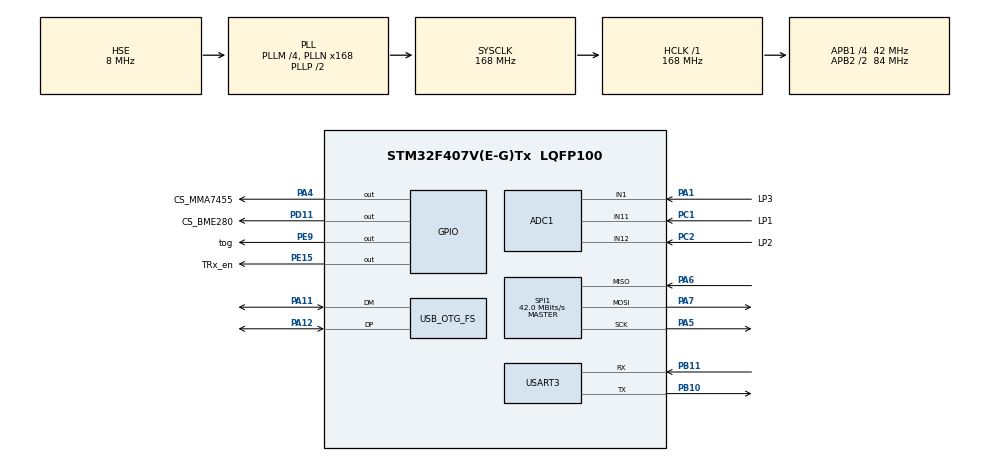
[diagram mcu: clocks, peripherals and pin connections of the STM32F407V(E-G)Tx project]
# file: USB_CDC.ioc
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ADC1.Channel-0\#ChannelRegularConversion=ADC_CHANNEL_1
ADC1.Channel-1\#ChannelRegularConversion=ADC_CHANNEL_11
ADC1.Channel-2\#ChannelRegularConversion=ADC_CHANNEL_12
ADC1.Channel-3\#ChannelRegularConversion=ADC_CHANNEL_TEMPSENSOR
ADC1.Channel-4\#ChannelRegularConversion=ADC_CHANNEL_VREFINT
ADC1.ContinuousConvMode=ENABLE
ADC1.DMAContinuousRequests=ENABLE
ADC1.ExternalTrigConv=ADC_EXTERNALTRIGCONV_T3_TRGO
ADC1.NbrOfConversion=5
ADC1.NbrOfConversionFlag=1
ADC1.Rank-0\#ChannelRegularConversion=1
ADC1.Rank-1\#ChannelRegularConversion=2
ADC1.Rank-2\#ChannelRegularConversion=3
ADC1.Rank-3\#ChannelRegularConversion=4
ADC1.Rank-4\#ChannelRegularConversion=5
ADC1.SamplingTime-0\#ChannelRegularConversion=ADC_SAMPLETIME_3CYCLES
ADC1.SamplingTime-1\#ChannelRegularConversion=ADC_SAMPLETIME_3CYCLES
ADC1.SamplingTime-2\#ChannelRegularConversion=ADC_SAMPLETIME_3CYCLES
ADC1.SamplingTime-3\#ChannelRegularConversion=ADC_SAMPLETIME_3CYCLES
ADC1.SamplingTime-4\#ChannelRegularConversion=ADC_SAMPLETIME_3CYCLES
ADC1.master=1
Dma.ADC1.0.Direction=DMA_PERIPH_TO_MEMORY
Dma.ADC1.0.FIFOMode=DMA_FIFOMODE_DISABLE
Dma.ADC1.0.Instance=DMA2_Stream0
Dma.ADC1.0.MemDataAlignment=DMA_MDATAALIGN_HALFWORD
Dma.ADC1.0.MemInc=DMA_MINC_ENABLE
Dma.ADC1.0.Mode=DMA_CIRCULAR
Dma.ADC1.0.PeriphDataAlignment=DMA_PDATAALIGN_HALFWORD
Dma.ADC1.0.PeriphInc=DMA_PINC_DISABLE
Dma.ADC1.0.Priority=DMA_PRIORITY_LOW
Dma.Request0=ADC1
Dma.Request1=SPI1_RX
Dma.Request2=SPI1_TX
Dma.Request3=USART3_RX
Dma.Request4=USART3_TX
Dma.SPI1_RX.1.Direction=DMA_PERIPH_TO_MEMORY
Dma.SPI1_RX.1.FIFOMode=DMA_FIFOMODE_DISABLE
Dma.SPI1_RX.1.Instance=DMA2_Stream2
Dma.SPI1_RX.1.MemDataAlignment=DMA_MDATAALIGN_BYTE
Dma.SPI1_RX.1.MemInc=DMA_MINC_ENABLE
Dma.SPI1_RX.1.Mode=DMA_NORMAL
Dma.SPI1_RX.1.PeriphDataAlignment=DMA_PDATAALIGN_BYTE
Dma.SPI1_RX.1.PeriphInc=DMA_PINC_DISABLE
Dma.SPI1_RX.1.Priority=DMA_PRIORITY_LOW
Dma.SPI1_TX.2.Direction=DMA_MEMORY_TO_PERIPH
Dma.SPI1_TX.2.FIFOMode=DMA_FIFOMODE_DISABLE
Dma.SPI1_TX.2.Instance=DMA2_Stream3
Dma.SPI1_TX.2.MemDataAlignment=DMA_MDATAALIGN_BYTE
Dma.SPI1_TX.2.MemInc=DMA_MINC_ENABLE
Dma.SPI1_TX.2.Mode=DMA_NORMAL
Dma.SPI1_TX.2.PeriphDataAlignment=DMA_PDATAALIGN_BYTE
Dma.SPI1_TX.2.PeriphInc=DMA_PINC_DISABLE
Dma.SPI1_TX.2.Priority=DMA_PRIORITY_LOW
Dma.USART3_RX.3.Direction=DMA_PERIPH_TO_MEMORY
Dma.USART3_RX.3.FIFOMode=DMA_FIFOMODE_DISABLE
Dma.USART3_RX.3.Instance=DMA1_Stream1
Dma.USART3_RX.3.MemDataAlignment=DMA_MDATAALIGN_HALFWORD
Dma.USART3_RX.3.MemInc=DMA_MINC_ENABLE
Dma.USART3_RX.3.Mode=DMA_NORMAL
Dma.USART3_RX.3.PeriphDataAlignment=DMA_PDATAALIGN_HALFWORD
Dma.USART3_RX.3.PeriphInc=DMA_PINC_DISABLE
Dma.USART3_RX.3.Priority=DMA_PRIORITY_LOW
Dma.USART3_TX.4.Direction=DMA_MEMORY_TO_PERIPH
Dma.USART3_TX.4.FIFOMode=DMA_FIFOMODE_DISABLE
Dma.USART3_TX.4.Instance=DMA1_Stream4
Dma.USART3_TX.4.MemDataAlignment=DMA_MDATAALIGN_HALFWORD
Dma.USART3_TX.4.MemInc=DMA_MINC_ENABLE
Dma.USART3_TX.4.Mode=DMA_NORMAL
Dma.USART3_TX.4.PeriphDataAlignment=DMA_PDATAALIGN_HALFWORD
Dma.USART3_TX.4.PeriphInc=DMA_PINC_DISABLE
Dma.USART3_TX.4.Priority=DMA_PRIORITY_LOW
FREERTOS.Tasks01=analogT,24,128,analogTask,Default,NULL,Dynamic,NULL,NULL;modbusT,8,128,modbusTask,Default,NULL,Dynamic,NULL,NULL;spiT,8,128,spiTask,Default,NULL,Dynamic,NULL,NULL;cdcT,8,128,cdcTask,Default,NULL,Dynamic,NULL,NULL
Mcu.Family=STM32F4
Mcu.Name=STM32F407V(E-G)Tx
Mcu.Package=LQFP100
NVIC.ADC_IRQn=true\:5\:0\:false\:false\:true\:true\:true\:true\:true
NVIC.DMA1_Stream1_IRQn=true\:5\:0\:false\:false\:true\:true\:false\:true\:true
NVIC.DMA1_Stream4_IRQn=true\:5\:0\:false\:false\:true\:true\:false\:true\:true
NVIC.DMA2_Stream0_IRQn=true\:5\:0\:false\:false\:true\:false\:false\:true\:true
NVIC.DMA2_Stream2_IRQn=true\:5\:0\:false\:false\:true\:false\:false\:true\:true
NVIC.DMA2_Stream3_IRQn=true\:5\:0\:false\:false\:true\:true\:false\:true\:true
NVIC.OTG_FS_IRQn=true\:5\:0\:false\:false\:true\:true\:false\:true\:true
NVIC.PriorityGroup=NVIC_PRIORITYGROUP_4
NVIC.TIM6_DAC_IRQn=true\:15\:0\:false\:false\:true\:false\:false\:true\:true
NVIC.TimeBase=TIM6_DAC_IRQn
NVIC.TimeBaseIP=TIM6
NVIC.USART3_IRQn=true\:5\:0\:false\:false\:true\:true\:true\:true\:true
PA1.GPIO_Label=LP3
PA1.Signal=ADCx_IN1
PA11.Mode=Device_Only
PA11.Signal=USB_OTG_FS_DM
PA12.Mode=Device_Only
PA12.Signal=USB_OTG_FS_DP
PA13.Mode=Serial_Wire
PA13.Signal=SYS_JTMS-SWDIO
PA14.Mode=Serial_Wire
PA14.Signal=SYS_JTCK-SWCLK
PA4.GPIO_Label=CS_MMA7455
PA4.Signal=GPIO_Output
PA5.Mode=Full_Duplex_Master
PA5.Signal=SPI1_SCK
PA6.Mode=Full_Duplex_Master
PA6.Signal=SPI1_MISO
PA7.Mode=Full_Duplex_Master
PA7.Signal=SPI1_MOSI
PB10.Mode=Asynchronous
PB10.Signal=USART3_TX
PB11.Mode=Asynchronous
PB11.Signal=USART3_RX
PC1.GPIO_Label=LP1
PC1.Signal=ADCx_IN11
PC2.GPIO_Label=LP2
PC2.Signal=ADCx_IN12
PD11.GPIO_Label=CS_BME280
PD11.Signal=GPIO_Output
PE15.GPIO_Label=TRx_en
PE15.Signal=GPIO_Output
PE9.GPIO_Label=tog
PE9.Signal=GPIO_Output
PH0-OSC_IN.Mode=HSE-External-Oscillator
PH0-OSC_IN.Signal=RCC_OSC_IN
PH1-OSC_OUT.Mode=HSE-External-Oscillator
PH1-OSC_OUT.Signal=RCC_OSC_OUT
ProjectManager.HeapSize=0x200
ProjectManager.StackSize=0x400
ProjectManager.TargetToolchain=STM32CubeIDE
RCC.48MHZClocksFreq_Value=48000000
RCC.AHBFreq_Value=168000000
RCC.APB1CLKDivider=RCC_HCLK_DIV4
RCC.APB1Freq_Value=42000000
RCC.APB1TimFreq_Value=84000000
RCC.APB2CLKDivider=RCC_HCLK_DIV2
RCC.APB2Freq_Value=84000000
RCC.APB2TimFreq_Value=168000000
RCC.CortexFreq_Value=168000000
RCC.HCLKFreq_Value=168000000
RCC.HSE_VALUE=8000000
RCC.HSI_VALUE=16000000
RCC.LSE_VALUE=32768
RCC.PLLM=4
RCC.PLLN=168
RCC.PLLQ=7
RCC.SYSCLKFreq_VALUE=168000000
RCC.SYSCLKSource=RCC_SYSCLKSOURCE_PLLCLK
RCC.VCOOutputFreq_Value=336000000
SH.ADCx_IN1.0=ADC1_IN1,IN1
SH.ADCx_IN11.0=ADC1_IN11,IN11
SH.ADCx_IN12.0=ADC1_IN12,IN12
SPI1.BaudRatePrescaler=SPI_BAUDRATEPRESCALER_2
SPI1.CLKPhase=SPI_PHASE_1EDGE
SPI1.CalculateBaudRate=42.0 MBits/s
SPI1.Direction=SPI_DIRECTION_2LINES
SPI1.Mode=SPI_MODE_MASTER
SPI1.VirtualType=VM_MASTER
TIM3.Period=200-1
TIM3.Prescaler=84-1
TIM3.TIM_MasterOutputTrigger=TIM_TRGO_UPDATE
USART3.VirtualMode=VM_ASYNC
USB_DEVICE.CLASS_NAME_FS=CDC
USB_DEVICE.USBD_MAX_STR_DESC_SIZ-CDC_FS=512
USB_DEVICE.VirtualMode-CDC_FS=Cdc
USB_DEVICE.VirtualModeFS=Cdc_FS
USB_OTG_FS.VirtualMode=Device_Only
VP_ADC1_TempSens_Input.Mode=IN-TempSens
VP_ADC1_Vref_Input.Mode=IN-Vrefint
VP_FREERTOS_VS_CMSIS_V2.Mode=CMSIS_V2
VP_SYS_VS_tim6.Mode=TIM6
VP_TIM3_VS_ClockSourceINT.Mode=Internal
VP_USB_DEVICE_VS_USB_DEVICE_CDC_FS.Mode=CDC_FS
board=custom

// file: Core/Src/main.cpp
/* USER CODE BEGIN Header */
/**
  ******************************************************************************
  * @file           : main.c
  * @brief          : Main program body
  ******************************************************************************
  * @attention
  *
  * Copyright (c) 2023 STMicroelectronics.
  * All rights reserved.
  *
  * This software is licensed under terms that can be found in the LICENSE file
  * in the root directory of this software component.
  * If no LICENSE file comes with this software, it is provided AS-IS.
  *
  ******************************************************************************
  */
/* USER CODE END Header */
#include "main.h"
#include "cmsis_os.h"
#include "usb_device.h"

/* USER CODE BEGIN Includes */
#include "usbd_cdc_if.h"
//#include <stdio.h>
#include "MMA_7455.h"
#include "SparkFunBME280.h"
#include "Modbus.h"
#include "semphr.h"
#include "task.h"
#include "FreeRTOS.h"
#include "printf.h"
#include <string.h>
/* USER CODE END Includes */

ADC_HandleTypeDef hadc1;
DMA_HandleTypeDef hdma_adc1;

SPI_HandleTypeDef hspi1;
DMA_HandleTypeDef hdma_spi1_rx;
DMA_HandleTypeDef hdma_spi1_tx;

TIM_HandleTypeDef htim3;

UART_HandleTypeDef huart3;
DMA_HandleTypeDef hdma_usart3_rx;
DMA_HandleTypeDef hdma_usart3_tx;

/* Definitions for analogT */
osThreadId_t analogTHandle;
const osThreadAttr_t analogT_attributes = {
  .name = "analogT",
  .stack_size = 128 * 4,
  .priority = (osPriority_t) osPriorityAboveNormal,
};
/* Definitions for modbusT */
osThreadId_t modbusTHandle;
const osThreadAttr_t modbusT_attributes = {
  .name = "modbusT",
  .stack_size = 128 * 4,
  .priority = (osPriority_t) osPriorityLow,
};
/* Definitions for spiT */
osThreadId_t spiTHandle;
const osThreadAttr_t spiT_attributes = {
  .name = "spiT",
  .stack_size = 128 * 4,
  .priority = (osPriority_t) osPriorityLow,
};
/* Definitions for cdcT */
osThreadId_t cdcTHandle;
const osThreadAttr_t cdcT_attributes = {
  .name = "cdcT",
  .stack_size = 128 * 4,
  .priority = (osPriority_t) osPriorityLow,
};
/* USER CODE BEGIN PV */

#define ADC_BUFF_NUM 16

typedef struct adcvalues{
	uint16_t raw[ADC_BUFF_NUM];
	float intTemp;
}adcval_t;
uint16_t adcBuffer[5];

union Num{
	float fnum;
	uint16_t unum;
}num;

adcval_t adcint;
uint16_t modbusData[128];

MMA_7455 vib(spi_protocol, 9);
BME280 	 temp;
modbusHandler_t mb;
uint8_t curADC=0;

modbus_t telegram[2];
int convcomplete=0;

char CDCreceivedBuffer[250];
int receiveData=0;
int lenReceiveData=0;
int adcInteruptCount=0;

#define ADCBUFFERSIZE 250
#define SPRINTFBUFFERSIZE 2048
uint16_t 	ia[ADCBUFFERSIZE],
			ib[ADCBUFFERSIZE],
			ic[ADCBUFFERSIZE],
			vref[ADCBUFFERSIZE],
			vtemp[ADCBUFFERSIZE];

char sprintfBuffer[SPRINTFBUFFERSIZE];

extern USBD_HandleTypeDef hUsbDeviceFS;
//USBD_CDC_HandleTypeDef *hcdc = (USBD_CDC_HandleTypeDef*)hUsbDeviceFS.pClassData;

extern uint8_t UserRxBufferFS[APP_RX_DATA_SIZE];
extern uint8_t UserTxBufferFS[APP_TX_DATA_SIZE];

/* USER CODE END PV */

void SystemClock_Config(void);
static void MX_GPIO_Init(void);
static void MX_DMA_Init(void);
static void MX_TIM3_Init(void);
static void MX_ADC1_Init(void);
static void MX_SPI1_Init(void);
static void MX_USART3_UART_Init(void);
void analogTask(void *argument);
void modbusTask(void *argument);
void spiTask(void *argument);
void cdcTask(void *argument);

int main(void)
{

  /* MCU Configuration--------------------------------------------------------*/

  /* Reset of all peripherals, Initializes the Flash interface and the Systick. */
  HAL_Init();

  /* Configure the system clock */
  SystemClock_Config();

  /* Initialize all configured peripherals */
  MX_GPIO_Init();
  MX_DMA_Init();
  MX_TIM3_Init();
  MX_ADC1_Init();
  MX_SPI1_Init();
  MX_USART3_UART_Init();
  MX_USB_DEVICE_Init();
  /* USER CODE BEGIN 2 */

  mb.uModbusType = MB_SLAVE;
  mb.port 		 = &huart3;
  mb.u8id 		 = 2;
  mb.u16timeOut  = 3;
  mb.EN_Port	 = TRx_en_GPIO_Port;
  mb.EN_Pin		 = TRx_en_Pin;
  mb.u16regs	 = modbusData;
  mb.u16regsize	 = sizeof(modbusData)/sizeof(modbusData[0]);
  mb.xTypeHW	 = USART_HW_DMA;

  // init modbus and start
  ModbusInit(&mb);
  ModbusStart(&mb);

  HAL_ADC_Start_DMA(&hadc1, (uint32_t*)adcBuffer, 5);
  HAL_TIM_Base_Start(&htim3);

  /* USER CODE END 2 */

  /* Init scheduler */
  osKernelInitialize();

  /* Create the thread(s) */
  /* creation of analogT */
  analogTHandle = osThreadNew(analogTask, NULL, &analogT_attributes);

  /* creation of modbusT */
//  modbusTHandle = osThreadNew(modbusTask, NULL, &modbusT_attributes);

  /* creation of spiT */
//  spiTHandle = osThreadNew(spiTask, NULL, &spiT_attributes);

  /* creation of cdcT */
//  cdcTHandle = osThreadNew(cdcTask, NULL, &cdcT_attributes);

  /* Start scheduler */
  osKernelStart();

  /* We should never get here as control is now taken by the scheduler */
  /* Infinite loop */
  while (1)
  {

  }
}

void SystemClock_Config(void)
{
  RCC_OscInitTypeDef RCC_OscInitStruct = {0};
  RCC_ClkInitTypeDef RCC_ClkInitStruct = {0};

  /** Configure the main internal regulator output voltage
  */
  __HAL_RCC_PWR_CLK_ENABLE();
  __HAL_PWR_VOLTAGESCALING_CONFIG(PWR_REGULATOR_VOLTAGE_SCALE1);

  /** Initializes the RCC Oscillators according to the specified parameters
  * in the RCC_OscInitTypeDef structure.
  */
  RCC_OscInitStruct.OscillatorType = RCC_OSCILLATORTYPE_HSE;
  RCC_OscInitStruct.HSEState = RCC_HSE_ON;
  RCC_OscInitStruct.PLL.PLLState = RCC_PLL_ON;
  RCC_OscInitStruct.PLL.PLLSource = RCC_PLLSOURCE_HSE;
  RCC_OscInitStruct.PLL.PLLM = 4;
  RCC_OscInitStruct.PLL.PLLN = 168;
  RCC_OscInitStruct.PLL.PLLP = RCC_PLLP_DIV2;
  RCC_OscInitStruct.PLL.PLLQ = 7;
  if (HAL_RCC_OscConfig(&RCC_OscInitStruct) != HAL_OK)
  {
    Error_Handler();
  }

  /** Initializes the CPU, AHB and APB buses clocks
  */
  RCC_ClkInitStruct.ClockType = RCC_CLOCKTYPE_HCLK|RCC_CLOCKTYPE_SYSCLK
                              |RCC_CLOCKTYPE_PCLK1|RCC_CLOCKTYPE_PCLK2;
  RCC_ClkInitStruct.SYSCLKSource = RCC_SYSCLKSOURCE_PLLCLK;
  RCC_ClkInitStruct.AHBCLKDivider = RCC_SYSCLK_DIV1;
  RCC_ClkInitStruct.APB1CLKDivider = RCC_HCLK_DIV4;
  RCC_ClkInitStruct.APB2CLKDivider = RCC_HCLK_DIV2;

  if (HAL_RCC_ClockConfig(&RCC_ClkInitStruct, FLASH_LATENCY_5) != HAL_OK)
  {
    Error_Handler();
  }
}

static void MX_ADC1_Init(void)
{

  ADC_ChannelConfTypeDef sConfig = {0};

  /** Configure the global features of the ADC (Clock, Resolution, Data Alignment and number of conversion)
  */
  hadc1.Instance = ADC1;
  hadc1.Init.ClockPrescaler = ADC_CLOCK_SYNC_PCLK_DIV4;
  hadc1.Init.Resolution = ADC_RESOLUTION_12B;
  hadc1.Init.ScanConvMode = ENABLE;
  hadc1.Init.ContinuousConvMode = ENABLE;
  hadc1.Init.DiscontinuousConvMode = DISABLE;
  hadc1.Init.ExternalTrigConvEdge = ADC_EXTERNALTRIGCONVEDGE_RISING;
  hadc1.Init.ExternalTrigConv = ADC_EXTERNALTRIGCONV_T3_TRGO;
  hadc1.Init.DataAlign = ADC_DATAALIGN_RIGHT;
  hadc1.Init.NbrOfConversion = 5;
  hadc1.Init.DMAContinuousRequests = ENABLE;
  hadc1.Init.EOCSelection = ADC_EOC_SINGLE_CONV;
  if (HAL_ADC_Init(&hadc1) != HAL_OK)
  {
    Error_Handler();
  }

  /** Configure for the selected ADC regular channel its corresponding rank in the sequencer and its sample time.
  */
  sConfig.Channel = ADC_CHANNEL_1;
  sConfig.Rank = 1;
  sConfig.SamplingTime = ADC_SAMPLETIME_3CYCLES;
  if (HAL_ADC_ConfigChannel(&hadc1, &sConfig) != HAL_OK)
  {
    Error_Handler();
  }

  /** Configure for the selected ADC regular channel its corresponding rank in the sequencer and its sample time.
  */
  sConfig.Channel = ADC_CHANNEL_11;
  sConfig.Rank = 2;
  if (HAL_ADC_ConfigChannel(&hadc1, &sConfig) != HAL_OK)
  {
    Error_Handler();
  }

  /** Configure for the selected ADC regular channel its corresponding rank in the sequencer and its sample time.
  */
  sConfig.Channel = ADC_CHANNEL_12;
  sConfig.Rank = 3;
  if (HAL_ADC_ConfigChannel(&hadc1, &sConfig) != HAL_OK)
  {
    Error_Handler();
  }

  /** Configure for the selected ADC regular channel its corresponding rank in the sequencer and its sample time.
  */
  sConfig.Channel = ADC_CHANNEL_TEMPSENSOR;
  sConfig.Rank = 4;
  if (HAL_ADC_ConfigChannel(&hadc1, &sConfig) != HAL_OK)
  {
    Error_Handler();
  }

  /** Configure for the selected ADC regular channel its corresponding rank in the sequencer and its sample time.
  */
  sConfig.Channel = ADC_CHANNEL_VREFINT;
  sConfig.Rank = 5;
  if (HAL_ADC_ConfigChannel(&hadc1, &sConfig) != HAL_OK)
  {
    Error_Handler();
  }

}

static void MX_SPI1_Init(void)
{

  /* SPI1 parameter configuration*/
  hspi1.Instance = SPI1;
  hspi1.Init.Mode = SPI_MODE_MASTER;
  hspi1.Init.Direction = SPI_DIRECTION_2LINES;
  hspi1.Init.DataSize = SPI_DATASIZE_8BIT;
  hspi1.Init.CLKPolarity = SPI_POLARITY_LOW;
  hspi1.Init.CLKPhase = SPI_PHASE_1EDGE;
  hspi1.Init.NSS = SPI_NSS_SOFT;
  hspi1.Init.BaudRatePrescaler = SPI_BAUDRATEPRESCALER_8;
  hspi1.Init.FirstBit = SPI_FIRSTBIT_MSB;
  hspi1.Init.TIMode = SPI_TIMODE_DISABLE;
  hspi1.Init.CRCCalculation = SPI_CRCCALCULATION_DISABLE;
  hspi1.Init.CRCPolynomial = 10;
  if (HAL_SPI_Init(&hspi1) != HAL_OK)
  {
    Error_Handler();
  }

}

static void MX_TIM3_Init(void)
{

  TIM_ClockConfigTypeDef sClockSourceConfig = {0};
  TIM_MasterConfigTypeDef sMasterConfig = {0};

  htim3.Instance = TIM3;
  htim3.Init.Prescaler = 84-1;
  htim3.Init.CounterMode = TIM_COUNTERMODE_UP;
  htim3.Init.Period = 200-1;
  htim3.Init.ClockDivision = TIM_CLOCKDIVISION_DIV1;
  htim3.Init.AutoReloadPreload = TIM_AUTORELOAD_PRELOAD_DISABLE;
  if (HAL_TIM_Base_Init(&htim3) != HAL_OK)
  {
    Error_Handler();
  }
  sClockSourceConfig.ClockSource = TIM_CLOCKSOURCE_INTERNAL;
  if (HAL_TIM_ConfigClockSource(&htim3, &sClockSourceConfig) != HAL_OK)
  {
    Error_Handler();
  }
  sMasterConfig.MasterOutputTrigger = TIM_TRGO_UPDATE;
  sMasterConfig.MasterSlaveMode = TIM_MASTERSLAVEMODE_DISABLE;
  if (HAL_TIMEx_MasterConfigSynchronization(&htim3, &sMasterConfig) != HAL_OK)
  {
    Error_Handler();
  }

}

static void MX_USART3_UART_Init(void)
{

  huart3.Instance = USART3;
  huart3.Init.BaudRate = 57600; //115200; //==> 115200 tidak bisa bekerja dengan HMI Vijeo
  huart3.Init.WordLength = UART_WORDLENGTH_8B;
  huart3.Init.StopBits = UART_STOPBITS_1;
  huart3.Init.Parity = UART_PARITY_NONE;
  huart3.Init.Mode = UART_MODE_TX_RX;
  huart3.Init.HwFlowCtl = UART_HWCONTROL_NONE;
  huart3.Init.OverSampling = UART_OVERSAMPLING_16;
  if (HAL_UART_Init(&huart3) != HAL_OK)
  {
    Error_Handler();
  }

}

static void MX_DMA_Init(void)
{

  /* DMA controller clock enable */
  __HAL_RCC_DMA2_CLK_ENABLE();
  __HAL_RCC_DMA1_CLK_ENABLE();

  /* DMA interrupt init */
  /* DMA1_Stream1_IRQn interrupt configuration */
  HAL_NVIC_SetPriority(DMA1_Stream1_IRQn, 5, 0);
  HAL_NVIC_EnableIRQ(DMA1_Stream1_IRQn);
  /* DMA1_Stream4_IRQn interrupt configuration */
  HAL_NVIC_SetPriority(DMA1_Stream4_IRQn, 5, 0);
  HAL_NVIC_EnableIRQ(DMA1_Stream4_IRQn);
  /* DMA2_Stream0_IRQn interrupt configuration */
  HAL_NVIC_SetPriority(DMA2_Stream0_IRQn, 5, 0);
  HAL_NVIC_EnableIRQ(DMA2_Stream0_IRQn);
  /* DMA2_Stream2_IRQn interrupt configuration */
  HAL_NVIC_SetPriority(DMA2_Stream2_IRQn, 5, 0);
  HAL_NVIC_EnableIRQ(DMA2_Stream2_IRQn);
  /* DMA2_Stream3_IRQn interrupt configuration */
  HAL_NVIC_SetPriority(DMA2_Stream3_IRQn, 5, 0);
  HAL_NVIC_EnableIRQ(DMA2_Stream3_IRQn);

}

static void MX_GPIO_Init(void)
{
  GPIO_InitTypeDef GPIO_InitStruct = {0};

  /* GPIO Ports Clock Enable */
  __HAL_RCC_GPIOH_CLK_ENABLE();
  __HAL_RCC_GPIOC_CLK_ENABLE();
  __HAL_RCC_GPIOA_CLK_ENABLE();
  __HAL_RCC_GPIOE_CLK_ENABLE();
  __HAL_RCC_GPIOB_CLK_ENABLE();
  __HAL_RCC_GPIOD_CLK_ENABLE();

  /*Configure GPIO pin Output Level */
  HAL_GPIO_WritePin(CS_MMA7455_GPIO_Port, CS_MMA7455_Pin, GPIO_PIN_RESET);

  /*Configure GPIO pin Output Level */
  HAL_GPIO_WritePin(GPIOE, tog_Pin|TRx_en_Pin, GPIO_PIN_RESET);

  /*Configure GPIO pin Output Level */
  HAL_GPIO_WritePin(CS_BME280_GPIO_Port, CS_BME280_Pin, GPIO_PIN_RESET);

  /*Configure GPIO pin : CS_MMA7455_Pin */
  GPIO_InitStruct.Pin = CS_MMA7455_Pin;
  GPIO_InitStruct.Mode = GPIO_MODE_OUTPUT_PP;
  GPIO_InitStruct.Pull = GPIO_NOPULL;
  GPIO_InitStruct.Speed = GPIO_SPEED_FREQ_LOW;
  HAL_GPIO_Init(CS_MMA7455_GPIO_Port, &GPIO_InitStruct);

  /*Configure GPIO pins : tog_Pin TRx_en_Pin */
  GPIO_InitStruct.Pin = tog_Pin|TRx_en_Pin;
  GPIO_InitStruct.Mode = GPIO_MODE_OUTPUT_PP;
  GPIO_InitStruct.Pull = GPIO_NOPULL;
  GPIO_InitStruct.Speed = GPIO_SPEED_FREQ_LOW;
  HAL_GPIO_Init(GPIOE, &GPIO_InitStruct);

  /*Configure GPIO pin : CS_BME280_Pin */
  GPIO_InitStruct.Pin = CS_BME280_Pin;
  GPIO_InitStruct.Mode = GPIO_MODE_OUTPUT_PP;
  GPIO_InitStruct.Pull = GPIO_NOPULL;
  GPIO_InitStruct.Speed = GPIO_SPEED_FREQ_LOW;
  HAL_GPIO_Init(CS_BME280_GPIO_Port, &GPIO_InitStruct);

}

/* USER CODE BEGIN 4 */

/**
 * hapus extern "C" jika format file ini .c
 * tambahkan extern "C" jika format file ini .cpp.
 **/

uint16_t float_to_uint16 (float float_number)
{
  union
  {
    float f_number;
    uint16_t uint16_arr[2];
  } union_for_conv;
  union_for_conv.f_number = float_number;
  uint16_t a = union_for_conv.uint16_arr[1];
  return a;
}

extern "C" int _write(int file, char *ptr, int len) {
    CDC_Transmit_FS((uint8_t*) ptr, len); return len;
}

void printBin(unsigned char value)
{
    for (int i = sizeof(char) * 7; i >= 0; i--)
        printf("%d", (value & (1 << i)) >> i );
    putc('\n', stdout);
}

//char buffer[600];
void HAL_ADC_ConvCpltCallback(ADC_HandleTypeDef* hadc){
	if(hadc->Instance == ADC1){
		if (adcInteruptCount <50) {
			ia[adcInteruptCount] = adcBuffer[0];
			ib[adcInteruptCount] = adcBuffer[1];
			ic[adcInteruptCount] = adcBuffer[2];
			vref[adcInteruptCount] = adcBuffer[3];
			vtemp[adcInteruptCount] = adcBuffer[4];

			adcInteruptCount +=1;
		}
		else convcomplete = 1;

	}
}

/* USER CODE END 4 */

void analogTask(void *argument)
{
  /* init code for USB_DEVICE */
  /* USER CODE BEGIN 5 */
  /* Infinite loop */
	MX_USART3_UART_Init();
	HAL_GPIO_WritePin(CS_MMA7455_GPIO_Port, CS_MMA7455_Pin, GPIO_PIN_SET);
	HAL_GPIO_WritePin(CS_BME280_GPIO_Port, CS_BME280_Pin, GPIO_PIN_SET);

	USBD_CDC_HandleTypeDef *hcdc = (USBD_CDC_HandleTypeDef*)hUsbDeviceFS.pClassData;

	vib.begin();
	vib.setSensitivity(2);
	vib.setMode(measure);
	vib.setAxisOffset(0, 0, 0);

	temp.begin();

//	uint8_t buf[2];
//	uint8_t rec=0x01;
//	uint8_t read=0x16;
//	uint8_t chipID;
	float bxg, byg, bzg, rtemp;
	int idx;
//	float ia,ib,ic,vtemp,vref;

  for(;;)
  {
	  osSemaphoreAcquire(mb.ModBusSphrHandle, portMAX_DELAY);
//	  xSemaphoreTake((QueueHandle_t) mb.ModBusSphrHandle, portMAX_DELAY);

	  rtemp = temp.readTempC();
//	  int xg = (int) bxg;
	  vib.readAxis8g(&bxg, &byg, &bzg);
//	  bxg = vib.readAxis8g('x');
//	  byg = vib.readAxis8g('y');
//	  bzg = vib.readAxis8g('z');
//	  chipID = temp.readRegister(BME280_CHIP_ID_REG);

//	  if(xg  != 2) vib.setSensitivity(2);
//	  xg = vib.getSensitivity();
//	  printf(" %d ", xg);
//	  zg = bzg *10000;
//	  printf(" \t%.5f\t|\t%.5f\t|\t%.5f\t|\n", bxg, byg, bzg);
//	  ia = curADC/4095.0;
//	  && hcdc->TxState != USBD_BUSY
	  if (receiveData) {
		  char *pt;
		  int idxCDCModbus=0;
		  pt = strtok (CDCreceivedBuffer,",");
		  while (pt != NULL) {
			  float a= atof(pt);

			  modbusData[idxCDCModbus] = float_to_uint16(a);//(uint16_t) a;
			  pt = strtok (NULL, ",");
			  idxCDCModbus++;
		  }
		  memset(CDCreceivedBuffer, NULL, sizeof(CDCreceivedBuffer));
		  receiveData=0;
	  }
	  if(convcomplete == 1){

//		  idx = printf("%d,%d,%d,%d,%d,%d,%.5f,%.5f,%.5f,%.3f\n", HAL_GetTick(), adcBuffer[0], adcBuffer[1], adcBuffer[2], adcBuffer[3], adcBuffer[4], bxg, byg, bzg, rtemp);

		  idx=0;
		  for(int i=0; i<10; i++){
			  idx += sprintf((char*)UserTxBufferFS+idx,
					  	  	  "%d,%d,%d,%f,%f,%f,%.3f\n",
							  ia[i], ib[i], ic[i], bxg, byg, bzg, rtemp);

		  }
		  USBD_CDC_SetTxBuffer(&hUsbDeviceFS, UserTxBufferFS, idx);
		  USBD_CDC_TransmitPacket(&hUsbDeviceFS);

		  convcomplete = 0;
		  adcInteruptCount=0;
	  }

//
//	  HAL_GPIO_WritePin(LP3_GPIO_Port, LP3_Pin, mb.u16regs[0] & 0x1==1 ? GPIO_PIN_RESET : GPIO_PIN_SET);
//	  printf("%04X \n", modbusData[0]);

//	  xSemaphoreGive((QueueHandle_t) mb.ModBusSphrHandle); //Release the semaphore
	  osSemaphoreRelease(mb.ModBusSphrHandle);
	  osDelay(1);
  }
  /* USER CODE END 5 */
}

void modbusTask(void *argument)
{
  /* USER CODE BEGIN modbusTask */
  /* Infinite loop */
  for(;;)
  {
//	  printf("modbus task: %d\n", HAL_GetTick());
	  osDelay(6000);
  }
  /* USER CODE END modbusTask */
}

void spiTask(void *argument)
{
  /* USER CODE BEGIN spiTask */
  /* Infinite loop */
//	HAL_GPIO_WritePin(CS_MMA7455_GPIO_Port, CS_MMA7455_Pin, GPIO_PIN_SET);
//	HAL_GPIO_WritePin(CS_BME280_GPIO_Port, CS_BME280_Pin, GPIO_PIN_SET);
//
//	vib.begin();
//	vib.setSensitivity(2);
//	vib.setMode(measure);
//	vib.setAxisOffset(0, 0, 0);
//
//	temp.begin();
//
//
//	uint8_t buf[2];
//	uint8_t rec=0x01;
//	uint8_t read=0x16;
//	float bxg, byg, bzg;
//	int xg, yg, zg;
  for(;;)
  {

//	  float bxg = temp.readTempC();
//	  int xg = (int) bxg;
////	  printf("temp *C: %f \n", temp.readTempC());
////	  printf("temp *C: %i\n", xg);
//
//	  bxg = vib.readAxis8g('x');
//	  xg = bxg *10000;
//
//	  byg = vib.readAxis8g('y');
//	  yg = byg *10000;
//
//	  bzg = vib.readAxis8g('z');
//	  zg = bzg *10000;
//	  printf(" \t%.5f\t|\t%.5f\t|\t%.5f\t|\n", bxg, byg, bzg);

	  osDelay(250);
  }
  /* USER CODE END spiTask */
}

void cdcTask(void *argument)
{
  /* USER CODE BEGIN cdcTask */
  /* Infinite loop */

//	modbusData[0]=0xFAFA;
//	modbusData[1]=0xFBFB;
//	modbusData[2]=0xFCFC;
//	modbusData[3]=0xFDFD;
//	modbusData[4]=0xFEFE;
//	uint32_t u32NotificationValue;

//	telegram[0].u8id = 1; // slave address
//	telegram[0].u8fct = MB_FC_READ_REGISTERS; // function code (this one is registers read)
//	//telegram[0].u16RegAdd = 0x160; // start address in slave
//	telegram[0].u16RegAdd = 0x0; // start address in slave
//	telegram[0].u16CoilsNo = 1; // number of elements (coils or registers) to read
//	telegram[0].u16reg = modbusData; // pointer to a memory array

	// telegram 0: read registers
//	telegram[1].u8id = 1; // slave address
//	telegram[1].u8fct = MB_FC_WRITE_REGISTER; // function code (this one is registers write)
	//telegram[1].u16RegAdd = 0x160; // start address in slave
//	telegram[1].u16RegAdd = 0x1;
//	telegram[1].u16CoilsNo = 5; // number of elements (coils or registers) to read
//	telegram[1].u16reg = modbusData+1; // pointer to a memory array
  for(;;)
  {
//	  printf("cdcTask %d \n", HAL_GetTick());
//	  ModbusQuery(&mb, telegram[0]); // make a query
//	  u32NotificationValue = ulTaskNotifyTake(pdTRUE, 500); // block until query finishes or timeout
//	  if(u32NotificationValue)
//	  {
//		  printf("Query1 Fail\n");
//	  }
//	  osDelay(500);

//	  modbusData[0];
//	  ModbusQuery(&mb, telegram[1]); // make a query
//	  u32NotificationValue = ulTaskNotifyTake(pdTRUE, 500); // block until query finishes or timeout
//	  if(u32NotificationValue)
//	  {
//		  printf("Query2 Fail\n");
//	  }
	  osDelay(500);
//	  telegram[1].u16RegAdd+=0x1;
  }
  /* USER CODE END cdcTask */
}

void HAL_TIM_PeriodElapsedCallback(TIM_HandleTypeDef *htim)
{
  if (htim->Instance == TIM6) {
    HAL_IncTick();
  }
}

void Error_Handler(void)
{
  /* USER CODE BEGIN Error_Handler_Debug */
  /* User can add his own implementation to report the HAL error return state */
  __disable_irq();
  while (1)
  {
	  printf("initialization Error!!");
  }
  /* USER CODE END Error_Handler_Debug */
}
